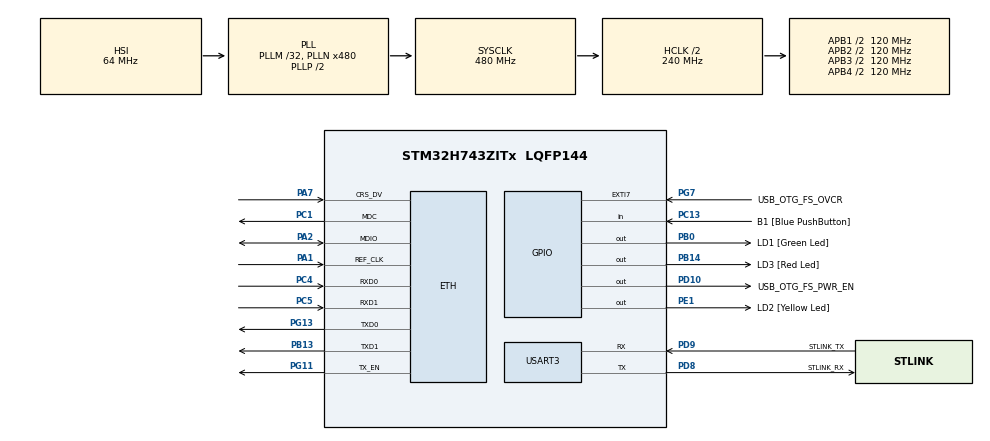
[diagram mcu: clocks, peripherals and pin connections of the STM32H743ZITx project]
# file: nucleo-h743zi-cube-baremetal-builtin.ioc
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ETH.MediaInterface=HAL_ETH_RMII_MODE
ETH.RxBuffLen=0
Mcu.Family=STM32H7
Mcu.Name=STM32H743ZITx
Mcu.Package=LQFP144
NVIC.ETH_IRQn=true\:0\:0\:false\:false\:false\:true\:true\:true
NVIC.PriorityGroup=NVIC_PRIORITYGROUP_4
PA1.Mode=RMII
PA1.Signal=ETH_REF_CLK
PA11.Signal=USB_OTG_FS_DM
PA12.Signal=USB_OTG_FS_DP
PA13\ (JTMS/SWDIO).GPIO_Label=JTMS
PA13\ (JTMS/SWDIO).Signal=DEBUG_JTMS-SWDIO
PA14\ (JTCK/SWCLK).GPIO_Label=JTCK
PA14\ (JTCK/SWCLK).Signal=DEBUG_JTCK-SWCLK
PA2.Mode=RMII
PA2.Signal=ETH_MDIO
PA7.Mode=RMII
PA7.Signal=ETH_CRS_DV
PA8.Signal=USB_OTG_FS_SOF
PA9.Signal=USB_OTG_FS_VBUS
PB0.GPIO_Label=LD1 [Green Led]
PB0.Signal=GPIO_Output
PB13.Mode=RMII
PB13.Signal=ETH_TXD1
PB14.GPIO_Label=LD3 [Red Led]
PB14.Signal=GPIO_Output
PC1.Mode=RMII
PC1.Signal=ETH_MDC
PC13.GPIO_Label=B1 [Blue PushButton]
PC13.Signal=GPIO_Input
PC14-OSC32_IN\ (OSC32_IN).Signal=RCC_OSC32_IN
PC15-OSC32_OUT\ (OSC32_OUT).Signal=RCC_OSC32_OUT
PC4.Mode=RMII
PC4.Signal=ETH_RXD0
PC5.Mode=RMII
PC5.Signal=ETH_RXD1
PD10.GPIO_Label=USB_OTG_FS_PWR_EN
PD10.Signal=GPIO_Output
PD8.GPIO_Label=STLINK_RX
PD8.Mode=Asynchronous
PD8.Signal=USART3_TX
PD9.GPIO_Label=STLINK_TX
PD9.Mode=Asynchronous
PD9.Signal=USART3_RX
PE1.GPIO_Label=LD2 [Yellow Led]
PE1.Signal=GPIO_Output
PG11.Mode=RMII
PG11.Signal=ETH_TX_EN
PG13.Mode=RMII
PG13.Signal=ETH_TXD0
PG7.GPIO_Label=USB_OTG_FS_OVCR
PG7.Signal=GPXTI7
PH0-OSC_IN\ (PH0).Signal=RCC_OSC_IN
PH1-OSC_OUT\ (PH1).Signal=RCC_OSC_OUT
ProjectManager.HeapSize=0x20000
ProjectManager.StackSize=0x8000
ProjectManager.TargetToolchain=STM32CubeIDE
RCC.ADCFreq_Value=129000000
RCC.APB1Freq_Value=120000000
RCC.APB2Freq_Value=120000000
RCC.APB3Freq_Value=120000000
RCC.APB4Freq_Value=120000000
RCC.CSICalibrationValue=16
RCC.CortexFreq_Value=480000000
RCC.D1PPRE=RCC_APB3_DIV2
RCC.D2PPRE1=RCC_APB1_DIV2
RCC.D2PPRE2=RCC_APB2_DIV2
RCC.D3PPRE=RCC_APB4_DIV2
RCC.DATA_CACHE_ENABLE=1
RCC.DIVN1=480
RCC.HCLKFreq_Value=240000000
RCC.HPRE=RCC_HCLK_DIV2
RCC.INSTRUCTION_CACHE_ENABLE=1
RCC.PREFETCH_ENABLE=1
RCC.PWREXT_OverDrive=PWREXT_OverDrive_DESACTIVATED
RCC.ProductRev=revV
RCC.SYSCLKFreq_VALUE=480000000
RCC.SYSCLKSource=RCC_SYSCLKSOURCE_PLLCLK
RCC.USBFreq_Value=480000000
USART3.VirtualMode-Asynchronous=VM_ASYNC
VP_RNG_VS_RNG.Mode=RNG_Activate
board=NUCLEO-H743ZI2

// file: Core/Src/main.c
/* USER CODE BEGIN Header */
/**
  ******************************************************************************
  * @file           : main.c
  * @brief          : Main program body
  ******************************************************************************
  * @attention
  *
  * Copyright (c) 2023 STMicroelectronics.
  * All rights reserved.
  *
  * This software is licensed under terms that can be found in the LICENSE file
  * in the root directory of this software component.
  * If no LICENSE file comes with this software, it is provided AS-IS.
  *
  ******************************************************************************
  */
/* USER CODE END Header */
#include "main.h"
#include "string.h"

/* USER CODE BEGIN Includes */
#include "hal.h"
#include "mongoose.h"
#include "net.h"

/* USER CODE END Includes */

/* USER CODE BEGIN PD */
#define BLINK_PERIOD_MS 1000  // LED blinking period in millis

/* USER CODE END PD */

#if defined ( __ICCARM__ ) /*!< IAR Compiler */
#pragma location=0x30000000
ETH_DMADescTypeDef  DMARxDscrTab[ETH_RX_DESC_CNT]; /* Ethernet Rx DMA Descriptors */
#pragma location=0x30000200
ETH_DMADescTypeDef  DMATxDscrTab[ETH_TX_DESC_CNT]; /* Ethernet Tx DMA Descriptors */

#elif defined ( __CC_ARM )  /* MDK ARM Compiler */

__attribute__((at(0x30000000))) ETH_DMADescTypeDef  DMARxDscrTab[ETH_RX_DESC_CNT]; /* Ethernet Rx DMA Descriptors */
__attribute__((at(0x30000200))) ETH_DMADescTypeDef  DMATxDscrTab[ETH_TX_DESC_CNT]; /* Ethernet Tx DMA Descriptors */

#elif defined ( __GNUC__ ) /* GNU Compiler */
ETH_DMADescTypeDef DMARxDscrTab[ETH_RX_DESC_CNT] __attribute__((section(".RxDecripSection"))); /* Ethernet Rx DMA Descriptors */
ETH_DMADescTypeDef DMATxDscrTab[ETH_TX_DESC_CNT] __attribute__((section(".TxDecripSection")));   /* Ethernet Tx DMA Descriptors */

#endif

ETH_TxPacketConfig TxConfig;

ETH_HandleTypeDef heth;

RNG_HandleTypeDef hrng;

UART_HandleTypeDef huart3;

void SystemClock_Config(void);
static void MX_GPIO_Init(void);
static void MX_ETH_Init(void);
static void MX_RNG_Init(void);
static void MX_USART3_UART_Init(void);

/* USER CODE BEGIN 0 */
uint64_t mg_millis(void) {  // Let Mongoose use our uptime function
  return (uint64_t)HAL_GetTick();     // Return number of milliseconds since boot
}

bool mg_random(void *buf, size_t len) {  // Use on-board RNG
  extern RNG_HandleTypeDef hrng;
  for (size_t n = 0; n < len; n += sizeof(uint32_t)) {
    uint32_t r;
    HAL_RNG_GenerateRandomNumber(&hrng, &r);
    memcpy((char *) buf + n, &r, n + sizeof(r) > len ? len - n : sizeof(r));
  }
  return true;
}

static void timer_fn(void *arg) {
  HAL_GPIO_TogglePin(GPIOE, GPIO_PIN_1);   // Blink On-board yellow LED
  struct mg_tcpip_if *ifp = arg;                  // And show
  const char *names[] = {"down", "up", "req", "ready"};  // network stats
  MG_INFO(("Ethernet: %s, IP: %M, rx:%u, tx:%u, dr:%u, er:%u",
           names[ifp->state], mg_print_ip4, &ifp->ip, ifp->nrecv, ifp->nsent,
           ifp->ndrop, ifp->nerr));
}

/* USER CODE END 0 */

int main(void)
{

  /* MCU Configuration--------------------------------------------------------*/

  /* Reset of all peripherals, Initializes the Flash interface and the Systick. */
  HAL_Init();

  /* Configure the system clock */
  SystemClock_Config();

  /* Initialize all configured peripherals */
  MX_GPIO_Init();
  MX_ETH_Init();
  MX_RNG_Init();
  MX_USART3_UART_Init();
  /* USER CODE BEGIN 2 */
  test_init();  // for internal testing purposes only
  MG_INFO(("Chip revision: %c, max cpu clock: %u MHz", chiprev(),
           (chiprev() == 'V') ? 480 : 400));
  MG_INFO(("Starting, CPU freq %g MHz", (double) SystemCoreClock / 1000000));

  struct mg_mgr mgr;        // Initialise
  mg_mgr_init(&mgr);        // Mongoose event manager
  mg_log_set(MG_LL_DEBUG);  // Set log level

  // Initialise Mongoose network stack
  struct mg_tcpip_driver_stm32h_data driver_data = {.mdc_cr = 4};
  struct mg_tcpip_if mif = {.mac = GENERATE_LOCALLY_ADMINISTERED_MAC(),
                            // Uncomment below for static configuration:
                            // .ip = mg_htonl(MG_U32(192, 168, 0, 223)),
                            // .mask = mg_htonl(MG_U32(255, 255, 255, 0)),
                            // .gw = mg_htonl(MG_U32(192, 168, 0, 1)),
                            .driver = &mg_tcpip_driver_stm32h,
                            .driver_data = &driver_data};
  mg_tcpip_init(&mgr, &mif);
  mg_timer_add(&mgr, BLINK_PERIOD_MS, MG_TIMER_REPEAT, timer_fn, &mif);

  MG_INFO(("MAC: %M. Waiting for IP...", mg_print_mac, mif.mac));
  while (mif.state != MG_TCPIP_STATE_READY) {
    mg_mgr_poll(&mgr, 0);
  }

  MG_INFO(("Initialising application..."));
  web_init(&mgr);

  MG_INFO(("Starting event loop"));

  /* USER CODE END 2 */

  /* Infinite loop */
  while (1)
  {

    /* USER CODE BEGIN 3 */
	mg_mgr_poll(&mgr, 0);
  }
  /* USER CODE END 3 */
}

void SystemClock_Config(void)
{
  RCC_OscInitTypeDef RCC_OscInitStruct = {0};
  RCC_ClkInitTypeDef RCC_ClkInitStruct = {0};

  /** Supply configuration update enable
  */
  HAL_PWREx_ConfigSupply(PWR_LDO_SUPPLY);

  /** Configure the main internal regulator output voltage
  */
  __HAL_PWR_VOLTAGESCALING_CONFIG(PWR_REGULATOR_VOLTAGE_SCALE1);

  while(!__HAL_PWR_GET_FLAG(PWR_FLAG_VOSRDY)) {}

  __HAL_RCC_SYSCFG_CLK_ENABLE();
  __HAL_PWR_VOLTAGESCALING_CONFIG(PWR_REGULATOR_VOLTAGE_SCALE0);

  while(!__HAL_PWR_GET_FLAG(PWR_FLAG_VOSRDY)) {}

  /** Initializes the RCC Oscillators according to the specified parameters
  * in the RCC_OscInitTypeDef structure.
  */
  RCC_OscInitStruct.OscillatorType = RCC_OSCILLATORTYPE_HSI48|RCC_OSCILLATORTYPE_HSI;
  RCC_OscInitStruct.HSIState = RCC_HSI_DIV1;
  RCC_OscInitStruct.HSICalibrationValue = RCC_HSICALIBRATION_DEFAULT;
  RCC_OscInitStruct.HSI48State = RCC_HSI48_ON;
  RCC_OscInitStruct.PLL.PLLState = RCC_PLL_ON;
  RCC_OscInitStruct.PLL.PLLSource = RCC_PLLSOURCE_HSI;
  RCC_OscInitStruct.PLL.PLLM = 32;
  RCC_OscInitStruct.PLL.PLLN = 480;
  RCC_OscInitStruct.PLL.PLLP = 2;
  RCC_OscInitStruct.PLL.PLLQ = 2;
  RCC_OscInitStruct.PLL.PLLR = 2;
  RCC_OscInitStruct.PLL.PLLRGE = RCC_PLL1VCIRANGE_1;
  RCC_OscInitStruct.PLL.PLLVCOSEL = RCC_PLL1VCOWIDE;
  RCC_OscInitStruct.PLL.PLLFRACN = 0;
  if (HAL_RCC_OscConfig(&RCC_OscInitStruct) != HAL_OK)
  {
    Error_Handler();
  }

  /** Initializes the CPU, AHB and APB buses clocks
  */
  RCC_ClkInitStruct.ClockType = RCC_CLOCKTYPE_HCLK|RCC_CLOCKTYPE_SYSCLK
                              |RCC_CLOCKTYPE_PCLK1|RCC_CLOCKTYPE_PCLK2
                              |RCC_CLOCKTYPE_D3PCLK1|RCC_CLOCKTYPE_D1PCLK1;
  RCC_ClkInitStruct.SYSCLKSource = RCC_SYSCLKSOURCE_PLLCLK;
  RCC_ClkInitStruct.SYSCLKDivider = RCC_SYSCLK_DIV1;
  RCC_ClkInitStruct.AHBCLKDivider = RCC_HCLK_DIV2;
  RCC_ClkInitStruct.APB3CLKDivider = RCC_APB3_DIV2;
  RCC_ClkInitStruct.APB1CLKDivider = RCC_APB1_DIV2;
  RCC_ClkInitStruct.APB2CLKDivider = RCC_APB2_DIV2;
  RCC_ClkInitStruct.APB4CLKDivider = RCC_APB4_DIV2;

  if (HAL_RCC_ClockConfig(&RCC_ClkInitStruct, FLASH_LATENCY_4) != HAL_OK)
  {
    Error_Handler();
  }
}

static void MX_ETH_Init(void)
{

   static uint8_t MACAddr[6];

  heth.Instance = ETH;
  MACAddr[0] = 0x00;
  MACAddr[1] = 0x80;
  MACAddr[2] = 0xE1;
  MACAddr[3] = 0x00;
  MACAddr[4] = 0x00;
  MACAddr[5] = 0x00;
  heth.Init.MACAddr = &MACAddr[0];
  heth.Init.MediaInterface = HAL_ETH_RMII_MODE;
  heth.Init.TxDesc = DMATxDscrTab;
  heth.Init.RxDesc = DMARxDscrTab;
  heth.Init.RxBuffLen = 0;

  if (HAL_ETH_Init(&heth) != HAL_OK)
  {
    Error_Handler();
  }

  memset(&TxConfig, 0 , sizeof(ETH_TxPacketConfig));
  TxConfig.Attributes = ETH_TX_PACKETS_FEATURES_CSUM | ETH_TX_PACKETS_FEATURES_CRCPAD;
  TxConfig.ChecksumCtrl = ETH_CHECKSUM_IPHDR_PAYLOAD_INSERT_PHDR_CALC;
  TxConfig.CRCPadCtrl = ETH_CRC_PAD_INSERT;

}

static void MX_RNG_Init(void)
{

  hrng.Instance = RNG;
  hrng.Init.ClockErrorDetection = RNG_CED_ENABLE;
  if (HAL_RNG_Init(&hrng) != HAL_OK)
  {
    Error_Handler();
  }

}

static void MX_USART3_UART_Init(void)
{

  huart3.Instance = USART3;
  huart3.Init.BaudRate = 115200;
  huart3.Init.WordLength = UART_WORDLENGTH_8B;
  huart3.Init.StopBits = UART_STOPBITS_1;
  huart3.Init.Parity = UART_PARITY_NONE;
  huart3.Init.Mode = UART_MODE_TX_RX;
  huart3.Init.HwFlowCtl = UART_HWCONTROL_NONE;
  huart3.Init.OverSampling = UART_OVERSAMPLING_16;
  huart3.Init.OneBitSampling = UART_ONE_BIT_SAMPLE_DISABLE;
  huart3.Init.ClockPrescaler = UART_PRESCALER_DIV1;
  huart3.AdvancedInit.AdvFeatureInit = UART_ADVFEATURE_NO_INIT;
  if (HAL_UART_Init(&huart3) != HAL_OK)
  {
    Error_Handler();
  }
  if (HAL_UARTEx_SetTxFifoThreshold(&huart3, UART_TXFIFO_THRESHOLD_1_8) != HAL_OK)
  {
    Error_Handler();
  }
  if (HAL_UARTEx_SetRxFifoThreshold(&huart3, UART_RXFIFO_THRESHOLD_1_8) != HAL_OK)
  {
    Error_Handler();
  }
  if (HAL_UARTEx_DisableFifoMode(&huart3) != HAL_OK)
  {
    Error_Handler();
  }

}

static void MX_GPIO_Init(void)
{
  GPIO_InitTypeDef GPIO_InitStruct = {0};

  /* GPIO Ports Clock Enable */
  __HAL_RCC_GPIOC_CLK_ENABLE();
  __HAL_RCC_GPIOH_CLK_ENABLE();
  __HAL_RCC_GPIOA_CLK_ENABLE();
  __HAL_RCC_GPIOB_CLK_ENABLE();
  __HAL_RCC_GPIOD_CLK_ENABLE();
  __HAL_RCC_GPIOG_CLK_ENABLE();
  __HAL_RCC_GPIOE_CLK_ENABLE();

  /*Configure GPIO pin Output Level */
  HAL_GPIO_WritePin(GPIOB, LD1_Pin|LD3_Pin, GPIO_PIN_RESET);

  /*Configure GPIO pin Output Level */
  HAL_GPIO_WritePin(USB_OTG_FS_PWR_EN_GPIO_Port, USB_OTG_FS_PWR_EN_Pin, GPIO_PIN_RESET);

  /*Configure GPIO pin Output Level */
  HAL_GPIO_WritePin(LD2_GPIO_Port, LD2_Pin, GPIO_PIN_RESET);

  /*Configure GPIO pin : B1_Pin */
  GPIO_InitStruct.Pin = B1_Pin;
  GPIO_InitStruct.Mode = GPIO_MODE_INPUT;
  GPIO_InitStruct.Pull = GPIO_NOPULL;
  HAL_GPIO_Init(B1_GPIO_Port, &GPIO_InitStruct);

  /*Configure GPIO pins : LD1_Pin LD3_Pin */
  GPIO_InitStruct.Pin = LD1_Pin|LD3_Pin;
  GPIO_InitStruct.Mode = GPIO_MODE_OUTPUT_PP;
  GPIO_InitStruct.Pull = GPIO_NOPULL;
  GPIO_InitStruct.Speed = GPIO_SPEED_FREQ_LOW;
  HAL_GPIO_Init(GPIOB, &GPIO_InitStruct);

  /*Configure GPIO pin : USB_OTG_FS_PWR_EN_Pin */
  GPIO_InitStruct.Pin = USB_OTG_FS_PWR_EN_Pin;
  GPIO_InitStruct.Mode = GPIO_MODE_OUTPUT_PP;
  GPIO_InitStruct.Pull = GPIO_NOPULL;
  GPIO_InitStruct.Speed = GPIO_SPEED_FREQ_LOW;
  HAL_GPIO_Init(USB_OTG_FS_PWR_EN_GPIO_Port, &GPIO_InitStruct);

  /*Configure GPIO pin : USB_OTG_FS_OVCR_Pin */
  GPIO_InitStruct.Pin = USB_OTG_FS_OVCR_Pin;
  GPIO_InitStruct.Mode = GPIO_MODE_IT_RISING;
  GPIO_InitStruct.Pull = GPIO_NOPULL;
  HAL_GPIO_Init(USB_OTG_FS_OVCR_GPIO_Port, &GPIO_InitStruct);

  /*Configure GPIO pins : PA8 PA11 PA12 */
  GPIO_InitStruct.Pin = GPIO_PIN_8|GPIO_PIN_11|GPIO_PIN_12;
  GPIO_InitStruct.Mode = GPIO_MODE_AF_PP;
  GPIO_InitStruct.Pull = GPIO_NOPULL;
  GPIO_InitStruct.Speed = GPIO_SPEED_FREQ_LOW;
  GPIO_InitStruct.Alternate = GPIO_AF10_OTG1_FS;
  HAL_GPIO_Init(GPIOA, &GPIO_InitStruct);

  /*Configure GPIO pin : LD2_Pin */
  GPIO_InitStruct.Pin = LD2_Pin;
  GPIO_InitStruct.Mode = GPIO_MODE_OUTPUT_PP;
  GPIO_InitStruct.Pull = GPIO_NOPULL;
  GPIO_InitStruct.Speed = GPIO_SPEED_FREQ_LOW;
  HAL_GPIO_Init(LD2_GPIO_Port, &GPIO_InitStruct);

}

void Error_Handler(void)
{
  __disable_irq();
  while (1)
  {
  }
}
